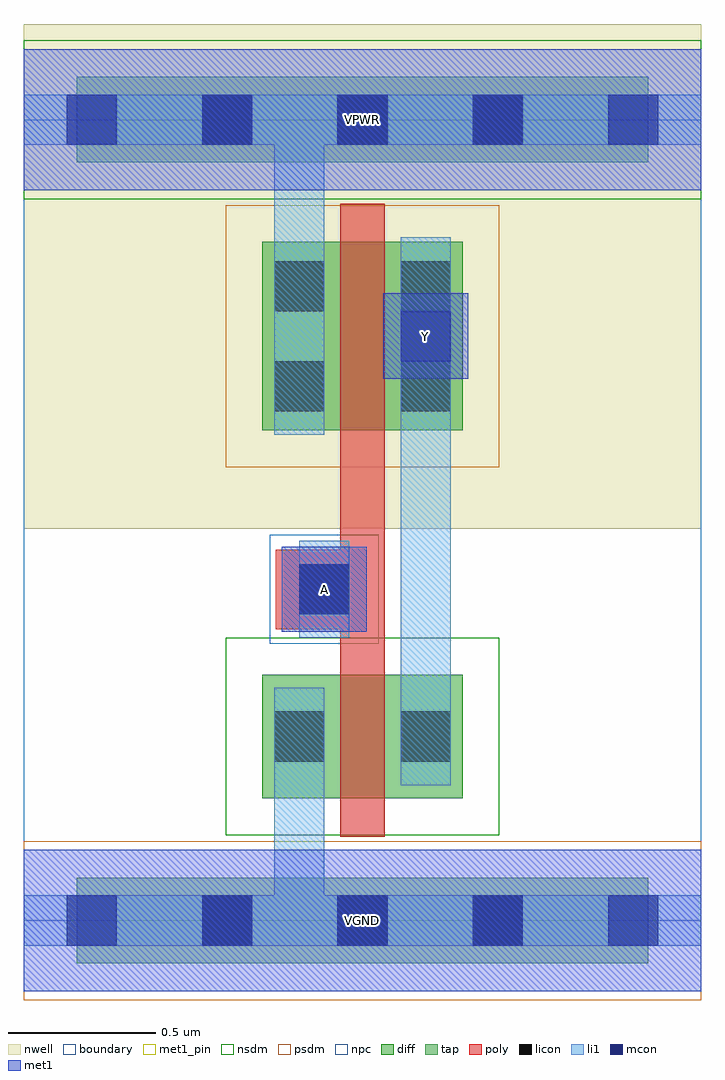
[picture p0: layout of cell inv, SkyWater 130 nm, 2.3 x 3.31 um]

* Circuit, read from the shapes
.subckt inv A VGND VPWR Y
XM1 Y A VGND VGND sky130_fd_pr__nfet_01v8 w=0.42 l=0.15
XM2 Y A VPWR VPWR sky130_fd_pr__pfet_01v8 w=0.64 l=0.15
.ends

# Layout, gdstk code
import gdstk
lib = gdstk.Library(unit=1e-6, precision=1e-09)
def R(c, l, rs):  # rectangles x0, y0, x1, y1
    for r in rs: c.add(gdstk.rectangle(r[:2], r[2:], *l))
def A(c, l, x, y, w, h, nx, ny, dx, dy):  # array of equal rectangles
    R(c, l, [(x+i*dx, y+j*dy, x+i*dx+w, y+j*dy+h) for i in range(nx) for j in range(ny)])
nwell = (64, 20)
diff = (65, 20)
tap = (65, 44)
poly = (66, 20)
licon = (66, 44)
li1 = (67, 20)
mcon = (67, 44)
met1_pin = (68, 16)
met1 = (68, 20)
nsdm = (93, 44)
psdm = (94, 20)
npc = (95, 20)
boundary = (235, 4)

inv = lib.new_cell('inv')
R(inv, nwell, [(0,1.33,2.3,3.045)])
R(inv, diff, [(0.81,0.415,1.49,0.835), (0.81,1.665,1.49,2.305)])
R(inv, tap, [(0.18,-0.145,2.12,0.145), (0.18,2.575,2.12,2.865)])
R(inv, poly, [(1.075,0.285,1.225,2.435), (0.855,0.99,1.185,1.26)])
A(inv, licon, 0.605, -0.085, 0.17, 0.17, 3, 2, 0.46, 2.72)
R(inv, licon, [(0.85,0.54,1.02,0.71), (1.28,0.54,1.45,0.71), (0.935,1.04,1.105,1.21), (0.85,1.73,1.02,1.9), (1.28,1.73,1.45,1.9), (0.85,2.07,1.02,2.24), (1.28,2.07,1.45,2.24)])
R(inv, li1, [(0,-0.085,2.3,0.085), (0.85,-0.085,1.02,0.79), (0.85,0.46,1.02,0.79), (1.28,0.46,1.45,0.79), (1.28,0.46,1.45,2.32), (0.935,0.96,1.105,1.29), (0.85,1.65,1.02,2.32), (0.85,1.65,1.02,2.805), (1.28,1.65,1.45,2.32), (0,2.635,2.3,2.805)])
A(inv, mcon, 0.145, -0.085, 0.17, 0.17, 5, 2, 0.46, 2.72)
R(inv, mcon, [(0.935,1.04,1.105,1.21), (1.28,1.9,1.45,2.07)])
R(inv, met1_pin, [(0,-0.24,2.3,0.24), (0.875,0.98,1.165,1.27), (1.22,1.84,1.51,2.13), (0,2.48,2.3,2.96)])
R(inv, met1, [(0,-0.24,2.3,0.24), (0.875,0.98,1.165,1.27), (1.22,1.84,1.51,2.13), (0,2.48,2.3,2.96)])
R(inv, nsdm, [(0.685,0.29,1.615,0.96), (0,2.45,2.3,2.99)])
R(inv, psdm, [(0,-0.27,2.3,0.27), (0.685,1.54,1.615,2.43)])
R(inv, npc, [(0.835,0.94,1.205,1.31)])
R(inv, boundary, [(0,0,2.3,2.72)])
inv.add(gdstk.Label('A', (1.02,1.125), layer=68, texttype=5))
inv.add(gdstk.Label('Y', (1.365,1.985), layer=68, texttype=5))
inv.add(gdstk.Label('VPWR', (1.15,2.72), layer=68, texttype=5))
inv.add(gdstk.Label('VGND', (1.15,0), layer=68, texttype=5))
inv.add(gdstk.Label('A', (1.02,1.125), layer=68, texttype=16))
inv.add(gdstk.Label('Y', (1.365,1.985), layer=68, texttype=16))
inv.add(gdstk.Label('VPWR', (1.15,2.72), layer=68, texttype=16))
inv.add(gdstk.Label('VGND', (1.15,0), layer=68, texttype=16))

lib.write_gds('inv.gds')
